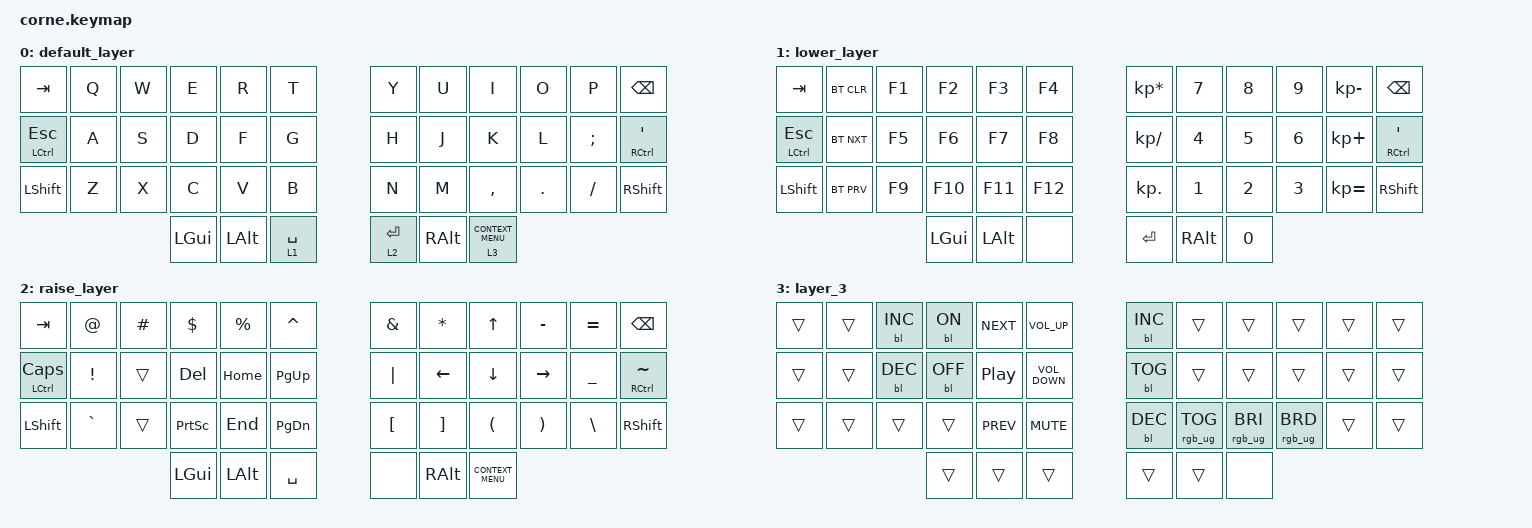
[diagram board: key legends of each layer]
/*
 * Copyright (c) 2020 The ZMK Contributors
 *
 * SPDX-License-Identifier: MIT
 */

#include <behaviors.dtsi>
#include <dt-bindings/zmk/backlight.h>
#include <dt-bindings/zmk/bt.h>
#include <dt-bindings/zmk/keys.h>
#include <dt-bindings/zmk/rgb.h>

/ {
    keymap {
        compatible = "zmk,keymap";

        default_layer {
            // -----------------------------------------------------------------------------------------
            // |  TAB |  Q  |  W  |  E  |  R  |  T  |   |  Y  |  U   |  I  |  O  |  P  | BKSP |
            // | CTRL |  A  |  S  |  D  |  F  |  G  |   |  H  |  J   |  K  |  L  |  ;  |  '   |
            // | SHFT |  Z  |  X  |  C  |  V  |  B  |   |  N  |  M   |  ,  |  .  |  /  | ESC  |
            //                    | GUI | LWR | SPC |   | ENT | RSE  | ALT |

            bindings = <
&kp TAB        &kp Q  &kp W  &kp E     &kp R         &kp T          &kp Y        &kp U          &kp I                 &kp O    &kp P     &kp BSPC
&mt LCTRL ESC  &kp A  &kp S  &kp D     &kp F         &kp G          &kp H        &kp J          &kp K                 &kp L    &kp SEMI  &mt RCTRL SINGLE_QUOTE
&kp LSHFT      &kp Z  &kp X  &kp C     &kp V         &kp B          &kp N        &kp M          &kp COMMA             &kp DOT  &kp FSLH  &kp RIGHT_SHIFT
                             &kp LGUI  &kp LEFT_ALT  &lt 1 SPACE    &lt 2 ENTER  &kp RIGHT_ALT  &lt 3 K_CONTEXT_MENU
            >;
        };

        lower_layer {
            // -----------------------------------------------------------------------------------------
            // |  TAB |  F1  |  2  |  3  |  4  |  5  |   |  6  |  7  |  8  |  9  |  0  | BKSP |
            // | BTCLR| BT1 | BT2 | BT3 | BT4 | BT5 |   | LFT | DWN |  UP | RGT |     |      |
            // | SHFT |     |     |     |     |     |   |     |     |     |     |     |      |
            //                    | GUI |     | SPC |   | ENT |     | ALT |

            bindings = <
&kp TAB        &bt BT_CLR  &kp F1  &kp F2    &kp F3        &kp F4     &kp KP_MULTIPLY  &kp N7         &kp N8  &kp N9  &kp KP_SUBTRACT  &kp BSPC
&mt LCTRL ESC  &bt BT_NXT  &kp F5  &kp F6    &kp F7        &kp F8     &kp KP_DIVIDE    &kp N4         &kp N5  &kp N6  &kp KP_PLUS      &mt RCTRL SINGLE_QUOTE
&kp LSHFT      &bt BT_PRV  &kp F9  &kp F10   &kp F11       &kp F12    &kp KP_DOT       &kp N1         &kp N2  &kp N3  &kp KP_EQUAL     &kp RIGHT_SHIFT
                                   &kp LGUI  &kp LEFT_ALT  &none      &kp RET          &kp RIGHT_ALT  &kp N0
            >;
        };

        raise_layer {
            // -----------------------------------------------------------------------------------------
            // |  TAB |  !  |  @  |  #  |  $  |  %  |   |  ^  |  &  |  *  |  (  |  )  | BKSP |
            // | CTRL |     |     |     |     |     |   |  -  |  =  |  [  |  ]  |  \  |  `   |
            // | SHFT |     |     |     |     |     |   |  _  |  +  |  {  |  }  | "|" |  ~   |
            //                    | GUI |     | SPC |   | ENT |     | ALT |

            bindings = <
&kp TAB             &kp AT_SIGN      &kp HASH  &kp DOLLAR       &kp PERCENT   &kp CARET        &kp AMPERSAND     &kp ASTERISK       &kp UP_ARROW          &kp MINUS              &kp EQUAL       &kp BSPC
&mt LCTRL CAPSLOCK  &kp EXCLAMATION  &trans    &kp DEL          &kp HOME      &kp PAGE_UP      &kp PIPE          &kp LEFT_ARROW     &kp DOWN_ARROW        &kp RIGHT_ARROW        &kp UNDERSCORE  &mt RCTRL TILDE
&kp LSHFT           &kp GRAVE        &trans    &kp PRINTSCREEN  &kp END       &kp PAGE_DOWN    &kp LEFT_BRACKET  &kp RIGHT_BRACKET  &kp LEFT_PARENTHESIS  &kp RIGHT_PARENTHESIS  &kp BACKSLASH   &kp RIGHT_SHIFT
                                               &kp LGUI         &kp LEFT_ALT  &kp SPACE        &none             &kp RIGHT_ALT      &kp K_CONTEXT_MENU
            >;
        };

        layer_3 {
            bindings = <
&trans  &trans  &bl BL_INC  &bl BL_ON   &kp C_NEXT        &kp C_VOLUME_UP      &bl BL_INC  &trans           &trans           &trans           &trans  &trans
&trans  &trans  &bl BL_DEC  &bl BL_OFF  &kp C_PLAY_PAUSE  &kp C_VOLUME_DOWN    &bl BL_TOG  &trans           &trans           &trans           &trans  &trans
&trans  &trans  &trans      &trans      &kp C_PREV        &kp C_MUTE           &bl BL_DEC  &rgb_ug RGB_TOG  &rgb_ug RGB_BRI  &rgb_ug RGB_BRD  &trans  &trans
                            &trans      &trans            &trans               &trans      &trans           &none
            >;
        };
    };
};
